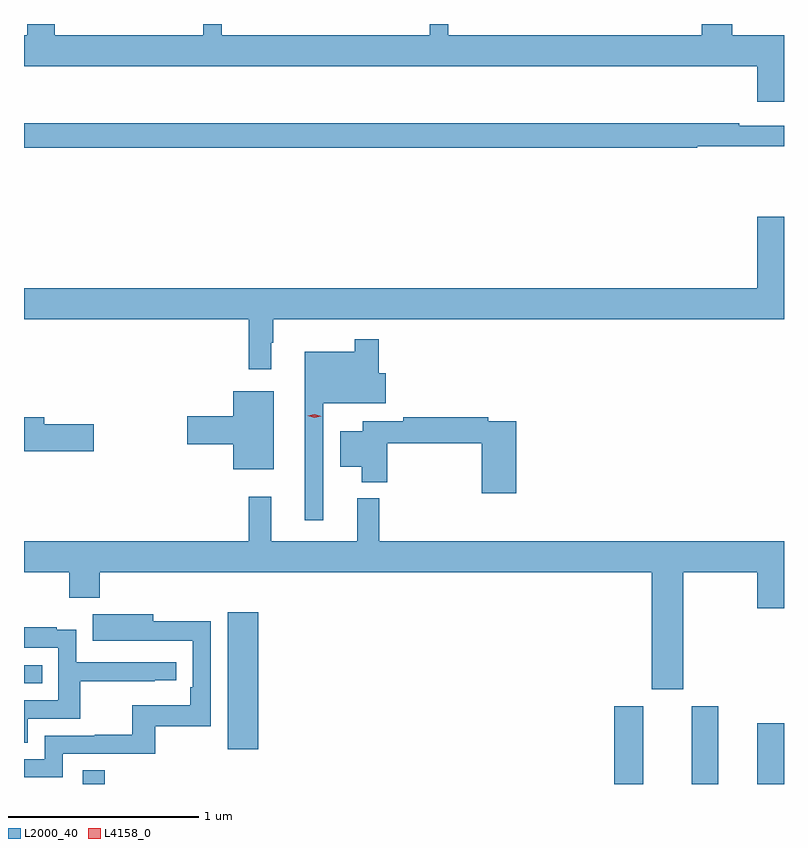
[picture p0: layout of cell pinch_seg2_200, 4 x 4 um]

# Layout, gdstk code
import gdstk
lib = gdstk.Library(unit=1e-6, precision=1e-09)
def R(c, l, rs):  # rectangles x0, y0, x1, y1
    for r in rs: c.add(gdstk.rectangle(r[:2], r[2:], *l))
def P(c, l, *ps):  # polygons
    for p in ps: c.add(gdstk.Polygon(p, *l))
L2000_40 = (2000, 40)
L4158_0 = (4158, 0)

pinch_seg2_200 = lib.new_cell('pinch_seg2_200')
R(pinch_seg2_200, L2000_40, [(976.641,658.51,976.757,658.583), (979.439,658.51,979.591,658.918), (979.847,658.51,979.987,658.918), (980.192,658.51,980.332,658.831), (977.405,658.692,977.566,659.413), (976.332,659.04,976.427,659.136)])
P(pinch_seg2_200, L2000_40, [(980.332,662.452),(980.06,662.452),(980.06,662.51),(979.9,662.51),(979.9,662.452),(978.564,662.452),(978.564,662.51),(978.468,662.51),(978.468,662.452),(977.373,662.452),(977.373,662.51),(977.276,662.51),(977.276,662.452),(976.495,662.452),(976.495,662.51),(976.348,662.51),(976.348,662.452),(976.332,662.452),(976.332,662.288),(980.192,662.288),(980.192,662.1),(980.332,662.1)],
  [(979.876,661.866),(980.332,661.866),(980.332,661.974),(980.096,661.974),(980.096,661.987),(976.332,661.987),(976.332,661.858),(979.876,661.858)],
  [(977.632,660.833),(977.644,660.833),(977.644,660.956),(980.332,660.956),(980.332,661.495),(980.192,661.495),(980.192,661.12),(976.332,661.12),(976.332,660.956),(977.515,660.956),(977.515,660.693),(977.632,660.693)],
  [(977.907,660.515),(978.235,660.515),(978.235,660.673),(978.2,660.673),(978.2,660.85),(978.072,660.85),(978.072,660.784),(977.81,660.784),(977.81,659.898),(977.907,659.898)],
  [(977.647,660.577),(977.432,660.577),(977.432,660.446),(977.19,660.446),(977.19,660.299),(977.432,660.299),(977.432,660.167),(977.647,660.167)],
  [(976.699,660.404),(976.438,660.404),(976.438,660.44),(976.332,660.44),(976.332,660.262),(976.699,660.262)],
  [(978.923,660.42),(978.776,660.42),(978.776,660.44),(978.328,660.44),(978.328,660.42),(978.116,660.42),(978.116,660.367),(977.996,660.367),(977.996,660.179),(978.11,660.179),(978.11,660.098),(978.245,660.098),(978.245,660.304),(978.74,660.304),(978.74,660.039),(978.923,660.039)],
  [(979.801,659.624),(980.192,659.624),(980.192,659.436),(980.332,659.436),(980.332,659.788),(978.203,659.788),(978.203,660.013),(978.086,660.013),(978.086,659.788),(977.633,659.788),(977.633,660.022),(977.515,660.022),(977.515,659.788),(976.332,659.788),(976.332,659.624),(976.57,659.624),(976.57,659.489),(976.73,659.489),(976.73,659.624),(979.637,659.624),(979.637,659.01),(979.801,659.01)],
  [(976.536,658.668),(977.023,658.668),(977.023,658.815),(977.316,658.815),(977.316,659.366),(977.011,659.366),(977.011,659.404),(976.693,659.404),(976.693,659.264),(976.907,659.264),(976.907,659.265),(977.22,659.265),(977.22,659.02),(977.207,659.02),(977.207,658.924),(976.902,658.924),(976.902,658.769),(976.705,658.769),(976.705,658.764),(976.44,658.764),(976.44,658.641),(976.332,658.641),(976.332,658.545),(976.536,658.545)],
  [(976.351,658.854),(976.628,658.854),(976.628,659.05),(977.021,659.05),(977.021,659.055),(977.134,659.055),(977.134,659.151),(976.608,659.151),(976.608,659.323),(976.505,659.323),(976.505,659.335),(976.332,659.335),(976.332,659.226),(976.512,659.226),(976.512,658.95),(976.332,658.95),(976.332,658.726),(976.351,658.726)])
P(pinch_seg2_200, L4158_0, [(977.86,660.437),(977.825,660.449),(977.825,660.449),(977.825,660.449),(977.861,660.457),(977.896,660.446),(977.897,660.446),(977.896,660.446)])

lib.write_gds('pinch_seg2_200.gds')
